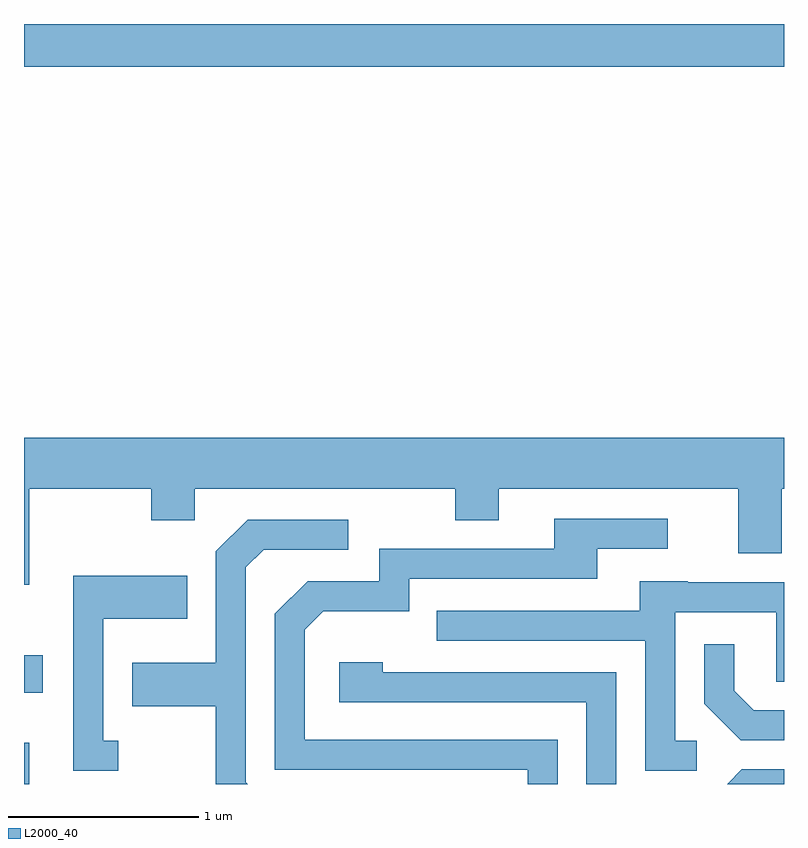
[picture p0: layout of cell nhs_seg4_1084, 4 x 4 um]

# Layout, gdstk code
import gdstk
lib = gdstk.Library(unit=1e-6, precision=1e-09)
def R(c, l, rs):  # rectangles x0, y0, x1, y1
    for r in rs: c.add(gdstk.rectangle(r[:2], r[2:], *l))
def P(c, l, *ps):  # polygons
    for p in ps: c.add(gdstk.Polygon(p, *l))
L2000_40 = (2000, 40)

nhs_seg4_1084 = lib.new_cell('nhs_seg4_1084')
R(nhs_seg4_1084, L2000_40, [(215.611,1381.982,215.639,1382.199), (215.611,1382.461,215.709,1382.659), (215.611,1385.756,219.611,1385.982)])
P(nhs_seg4_1084, L2000_40, [(215.639,1383.536),(216.281,1383.536),(216.281,1383.371),(216.509,1383.371),(216.509,1383.536),(217.881,1383.536),(217.881,1383.371),(218.109,1383.371),(218.109,1383.536),(219.371,1383.536),(219.371,1383.196),(219.599,1383.196),(219.599,1383.536),(219.611,1383.536),(219.611,1383.804),(215.611,1383.804),(215.611,1383.031),(215.639,1383.031)],
  [(218.419,1382.214),(217.089,1382.214),(217.089,1382.794),(217.187,1382.891),(217.639,1382.891),(217.639,1383.061),(218.629,1383.061),(218.629,1383.221),(218.998,1383.221),(218.998,1383.379),(218.401,1383.379),(218.401,1383.219),(217.481,1383.219),(217.481,1383.049),(217.104,1383.049),(216.931,1382.877),(216.931,1382.056),(218.261,1382.056),(218.261,1381.982),(218.419,1381.982)],
  [(216.779,1381.992),(216.779,1383.124),(216.872,1383.216),(217.318,1383.216),(217.318,1383.374),(216.789,1383.374),(216.621,1383.207),(216.621,1382.619),(216.181,1382.619),(216.181,1382.391),(216.621,1382.391),(216.621,1381.982),(216.789,1381.982)],
  [(216.108,1382.209),(216.029,1382.209),(216.029,1382.851),(216.469,1382.851),(216.469,1383.079),(215.871,1383.079),(215.871,1382.051),(216.108,1382.051)],
  [(219.153,1382.209),(219.039,1382.209),(219.039,1382.886),(219.571,1382.886),(219.571,1382.521),(219.611,1382.521),(219.611,1383.044),(219.105,1383.044),(219.105,1383.049),(218.851,1383.049),(218.851,1382.894),(217.783,1382.894),(217.783,1382.736),(218.881,1382.736),(218.881,1382.051),(219.153,1382.051)],
  [(219.611,1382.369),(219.452,1382.369),(219.349,1382.472),(219.349,1382.718),(219.191,1382.718),(219.191,1382.404),(219.384,1382.211),(219.611,1382.211)],
  [(218.729,1382.569),(217.499,1382.569),(217.499,1382.624),(217.271,1382.624),(217.271,1382.411),(218.571,1382.411),(218.571,1381.982),(218.729,1381.982)],
  [(219.611,1382.059),(219.389,1382.059),(219.312,1381.982),(219.611,1381.982)])

lib.write_gds('nhs_seg4_1084.gds')
